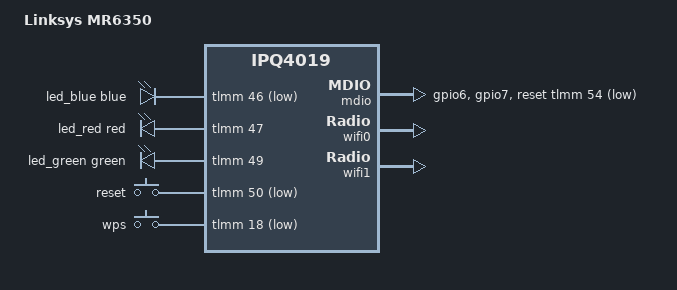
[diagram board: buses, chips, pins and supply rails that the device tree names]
// SPDX-License-Identifier: GPL-2.0-or-later OR MIT

#include "qcom-ipq4019-xx8300.dtsi"
#include <dt-bindings/leds/common.h>

/ {
	model = "Linksys MR6350";
	compatible = "linksys,mr6350", "qcom,ipq4019";

	aliases {
		led-boot = &led_blue;
		led-failsafe = &led_red;
		led-running = &led_green;
		led-upgrade = &led_blue;
		serial0 = &blsp1_uart1;
	};

	// Top panel LEDs, above Linksys logo
	leds {
		compatible = "gpio-leds";

		led_blue: led-blue {
			color = <LED_COLOR_ID_BLUE>;
			function = LED_FUNCTION_STATUS;
			gpios = <&tlmm 46 GPIO_ACTIVE_LOW>;
		};

		led_red: led-red {
			color = <LED_COLOR_ID_RED>;
			function = LED_FUNCTION_STATUS;
			gpios = <&tlmm 47 GPIO_ACTIVE_HIGH>;
			panic-indicator;
		};

		led_green: led-green {
			color = <LED_COLOR_ID_GREEN>;
			function = LED_FUNCTION_STATUS;
			gpios = <&tlmm 49 GPIO_ACTIVE_HIGH>;
		};
	};

	keys {
		compatible = "gpio-keys";

		button-reset {
			label = "reset";
			linux,code = <KEY_RESTART>;
			gpios = <&tlmm 50 GPIO_ACTIVE_LOW>;
		};

		button-wps {
			label = "wps";
			linux,code = <KEY_WPS_BUTTON>;
			gpios = <&tlmm 18 GPIO_ACTIVE_LOW>;
		};
	};
};

&mdio {
	status = "okay";
	pinctrl-0 = <&mdio_pins>;
	pinctrl-names = "default";
	reset-gpios = <&tlmm 54 GPIO_ACTIVE_LOW>;
	reset-delay-us = <2000>;
	reset-post-delay-us = <5000>;
};

&tlmm {
	status = "okay";

	mdio_pins: mdio_pinmux {
		mdio {
			pins = "gpio6";
			function = "mdio";
			bias-pull-up;
		};

		mdc {
			pins = "gpio7";
			function = "mdc";
			bias-pull-up;
		};
	};
};

&wifi0 {
	status = "okay";
	qcom,ath10k-calibration-variant = "linksys-mr6350";

};

&wifi1 {
	status = "okay";
	qcom,ath10k-calibration-variant = "linksys-mr6350";

};

&swport1 {
	label = "wan";
};

&swport2 {
	label = "lan1";
};

&swport3 {
	label = "lan2";
};

&swport4 {
	label = "lan3";
};

&swport5 {
	label = "lan4";
};

/* QSDK 10: retain this board's physical LAN/WAN port assignment. */
#define QSDK_LAN_BMP 0x3c
#define QSDK_WAN_BMP 0x2
#define QSDK_WAN_PHY 0
#define QSDK_WAN_POLL 1
#include "qcom-ipq40xx-qsdk-10.dtsi"

&switch {
	qcom,port_phyinfo {
		port1 { port_id = <1>; phy_address = <0>; };
		port2 { port_id = <2>; phy_address = <1>; };
		port3 { port_id = <3>; phy_address = <2>; };
		port4 { port_id = <4>; phy_address = <3>; };
		port5 { port_id = <5>; phy_address = <4>; };
	};
};

&qsdk_gmac0 {
	qcom,mac-source = <&swport1>;
};
